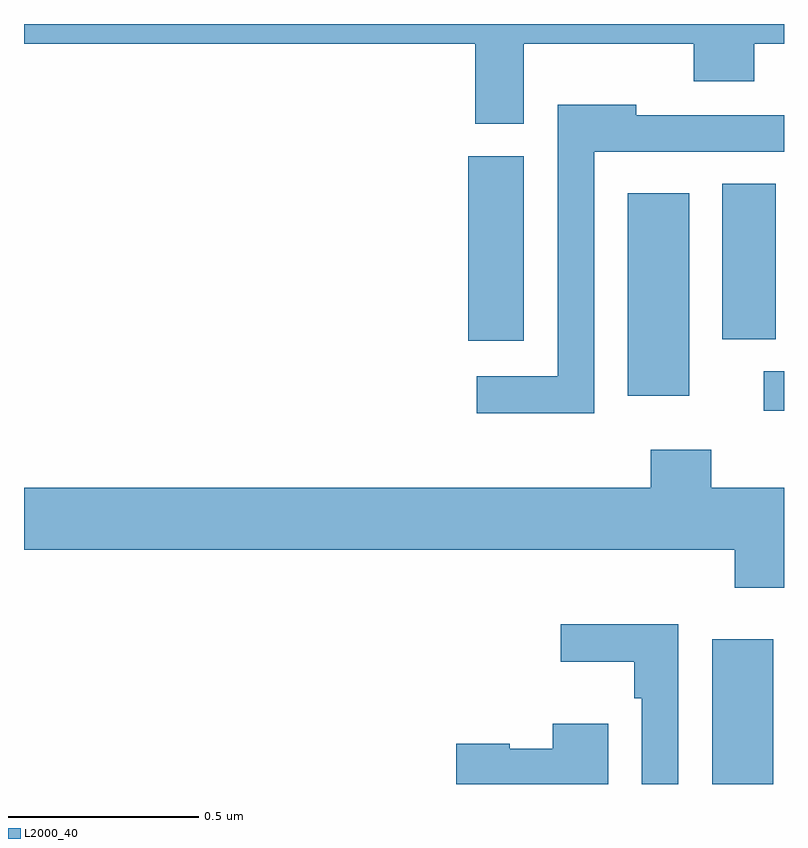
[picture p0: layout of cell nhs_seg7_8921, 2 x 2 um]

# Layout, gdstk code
import gdstk
lib = gdstk.Library(unit=1e-6, precision=1e-09)
def R(c, l, rs):  # rectangles x0, y0, x1, y1
    for r in rs: c.add(gdstk.rectangle(r[:2], r[2:], *l))
def P(c, l, *ps):  # polygons
    for p in ps: c.add(gdstk.Polygon(p, *l))
L2000_40 = (2000, 40)

nhs_seg7_8921 = lib.new_cell('nhs_seg7_8921')
R(nhs_seg7_8921, L2000_40, [(232.811,1000,232.972,1000.381), (232.947,1000.982,233,1001.086), (232.589,1001.022,232.75,1001.554), (232.169,1001.166,232.315,1001.652), (232.838,1001.171,232.978,1001.579)])
P(nhs_seg7_8921, L2000_40, [(232.315,1001.948),(232.762,1001.948),(232.762,1001.849),(232.922,1001.849),(232.922,1001.948),(233,1001.948),(233,1002),(231,1002),(231,1001.948),(232.187,1001.948),(232.187,1001.737),(232.315,1001.737)],
  [(232.5,1001.664),(233,1001.664),(233,1001.76),(232.611,1001.76),(232.611,1001.788),(232.404,1001.788),(232.404,1001.073),(232.191,1001.073),(232.191,1000.976),(232.5,1000.976)],
  [(233,1000.78),(232.809,1000.78),(232.809,1000.879),(232.649,1000.879),(232.649,1000.78),(231,1000.78),(231,1000.616),(232.871,1000.616),(232.871,1000.517),(233,1000.517)],
  [(232.722,1000.421),(232.413,1000.421),(232.413,1000.322),(232.606,1000.322),(232.606,1000.226),(232.626,1000.226),(232.626,1000),(232.722,1000)],
  [(232.537,1000.159),(232.391,1000.159),(232.391,1000.093),(232.278,1000.093),(232.278,1000.106),(232.137,1000.106),(232.137,1000),(232.537,1000)])

lib.write_gds('nhs_seg7_8921.gds')
